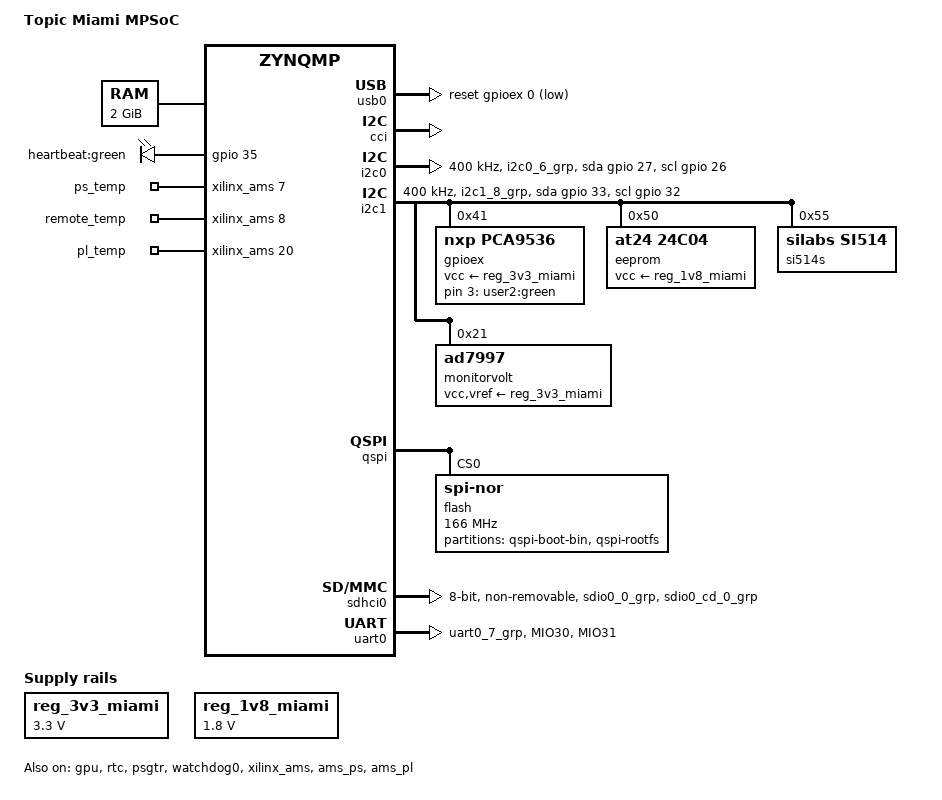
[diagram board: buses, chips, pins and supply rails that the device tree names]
/*
 * dts file for Topic Miami MPSoC
 *
 * (C) Copyright 2017, Topic Embedded Products BV
 * Mike Looijmans <mike.looijmans@topic.nl>
 *
 * This program is free software; you can redistribute it and/or
 * modify it under the terms of the GNU General Public License as
 * published by the Free Software Foundation; either version 2 of
 * the License, or (at your option) any later version.
 */

/dts-v1/;

#include "zynqmp.dtsi"
#include "zynqmp-clk-ccf.dtsi"
#include <dt-bindings/input/input.h>
#include <dt-bindings/gpio/gpio.h>
#include <dt-bindings/pinctrl/pinctrl-zynqmp.h>
#include <dt-bindings/phy/phy.h>

/ {
	model = "Topic Miami MPSoC";
	compatible = "topic,miamimp", "xlnx,zynqmp";

	aliases {
		ethernet0 = &gem3;
		gpio0 = &gpio;
		i2c0 = &i2c0;
		i2c1 = &i2c1;
		mmc0 = &sdhci0;
		mmc1 = &sdhci1;
		rtc0 = &rtc;
		serial0 = &uart0;
		serial1 = &uart1;
		spi0 = &qspi;
		usb0 = &usb0;
	};

	chosen {
		bootargs = "earlycon root=/dev/mmcblk1p2 rw rootfstype=ext4 rootwait";
		stdout-path = "serial0:115200n8";
	};

	memory {
		device_type = "memory";
		reg = <0x0 0x0 0x0 0x80000000>;
	};

	/* Represents the 3v3 supply on the Miami SOM. */
	reg_3v3_miami: regulator_3v3_miami {
		compatible = "regulator-fixed";
		regulator-name = "3v3-miami";
		regulator-min-microvolt = <3300000>;
		regulator-max-microvolt = <3300000>;
	};
	/* Represents the 1v8 supply on the SOM. */
	reg_1v8_miami: regulator_1v8_miami {
		compatible = "regulator-fixed";
		regulator-name = "1v8-miami";
		regulator-min-microvolt = <1800000>;
		regulator-max-microvolt = <1800000>;
	};

	leds: leds {
		compatible = "gpio-leds";
		heartbeat_led {
			label = "heartbeat:green";
			gpios = <&gpio 35 0>;
			linux,default-trigger = "heartbeat";
		};
		user_led_2 {
			label = "user2:green";
			gpios = <&gpioex 3 0>;
		};
	};

	/* Make temperature readouts show up in hwmon applications */
	iio-hwmon-ams-temp {
		compatible = "iio-hwmon";
		io-channels = <&xilinx_ams 7>, <&xilinx_ams 8>, <&xilinx_ams 20>;
		io-channel-names = "ps_temp", "remote_temp", "pl_temp";
	};
};

/* USB PHY reset (Xilinx specific) */
&usb0 {
	/* Xilinx defines "reset-gpio" but this should be reset-gpios */
	/delete-property/ reset-gpio;
	reset-gpios = <&gpioex 0 GPIO_ACTIVE_LOW>;
};

&cci {
	status = "okay";
};

&gpio {
	status = "okay";
	pinctrl-names = "default";
	pinctrl-0 = <&pinctrl_gpio_default>;
};

&gpu {
	status = "okay";
};

&i2c0 {
	status = "okay";
	clock-frequency = <400000>;
	pinctrl-names = "default", "gpio";
	pinctrl-0 = <&pinctrl_i2c0_default>;
	pinctrl-1 = <&pinctrl_i2c0_gpio>;
	scl-gpios = <&gpio 26 GPIO_ACTIVE_HIGH>;
	sda-gpios = <&gpio 27 GPIO_ACTIVE_HIGH>;
};

&i2c1 {
	status = "okay";
	clock-frequency = <400000>;
	pinctrl-names = "default", "gpio";
	pinctrl-0 = <&pinctrl_i2c1_default>;
	pinctrl-1 = <&pinctrl_i2c1_gpio>;
	scl-gpios = <&gpio 32 GPIO_ACTIVE_HIGH>;
	sda-gpios = <&gpio 33 GPIO_ACTIVE_HIGH>;

	/* GPIO expander */
	gpioex: pca953x@41 {
		compatible = "nxp,pca9536";
		reg = <0x41>;
		vcc-supply = <&reg_3v3_miami>;
		gpio-line-names = "USB_RESET", "VTT_SHDWN_N", "V_PRESENT", "LED2";
		gpio-controller;
		#gpio-cells = <2>;
	};
	/* EEPROM */
	eeprom: eeprom@50 {
		compatible = "at24,24c04";
		reg = <0x50>;
		vcc-supply = <&reg_1v8_miami>;
		pagesize = <16>;
		#address-cells = <1>;
		#size-cells = <1>;
		gem0_mac: mac@1e8 {
			reg = <0x1e8 6>;
		};
		gem1_mac: mac@1ee {
			reg = <0x1ee 6>;
		};
		miamiserial: serial@1f4 {
			reg = <0x1f4 4>;
		};
		dyplolicense: dyplolicense@1f8 {
			reg = <0x1f8 8>;
		};
	};
	/* Programmable clock (for logic) */
	si514s: si514@55 {
		reg = <0x55>;
		#clock-cells = <0>;
		compatible = "silabs,si514";
		clock-output-names = "si514miami";
	};
	/* AD converter for voltage monitoring */
	monitorvolt: ad799x@21 {
		compatible = "ad7997";
		reg = <0x21>;
		vcc-supply = <&reg_3v3_miami>;
		vref-supply = <&reg_3v3_miami>;
	};
};

&qspi {
	status = "okay";
	is-dual = <1>;
	multi-die = <1>;
	flash@0 {
		compatible = "jedec,spi-nor";
		#address-cells = <1>;
		#size-cells = <1>;
		reg = <0x0>;
		spi-tx-bus-width = <1>;
		spi-rx-bus-width = <4>;
		spi-max-frequency = <166000000>;
		is-dual = <1>;
		multi-die = <1>;
		partition@qspi-boot-bin {
			label = "qspi-boot-bin";
			reg = <0x00000 0x180000>;
		};
		partition@qspi-rootfs {
			label = "qspi-rootfs";
			reg = <0x180000 0>;
		};
	};
};

&rtc {
	status = "okay"; 
};

/* eMMC device */
&sdhci0 {
	status = "okay";
	non-removable;
	disable-wp; /* We don't have a write-protect detection */
	bus-width = <8>;
	xlnx,mio_bank = <0>;
	pinctrl-names = "default";
	pinctrl-0 = <&pinctrl_sdhci0_default>;
};

&psgtr {
	status = "okay";
	clock-names = "ref0", "ref1", "ref2", "ref3";
	/* TODO: clocks = ... */
};

&uart0 {
	status = "okay";
	pinctrl-names = "default";
	pinctrl-0 = <&pinctrl_uart0_default>;
};

&watchdog0 {
	status = "okay";
	timeout-sec = <5>;
	reset-on-timeout;
};

&xilinx_ams {
	status = "okay";
};

&ams_ps {
	status = "okay";
};

&ams_pl {
	status = "okay";
};

&pinctrl0 {
	status = "okay";

	pinctrl_i2c0_default: i2c0-default {
		mux {
			groups = "i2c0_6_grp";
			function = "i2c0";
		};

		conf {
			groups = "i2c0_6_grp";
			bias-pull-up;
			slew-rate = <SLEW_RATE_SLOW>;
			power-source = <IO_STANDARD_LVCMOS18>;
		};
	};

	pinctrl_i2c0_gpio: i2c0-gpio {
		mux {
			groups = "gpio0_26_grp", "gpio0_27_grp";
			function = "gpio0";
		};

		conf {
			groups = "gpio0_26_grp", "gpio0_27_grp";
			slew-rate = <SLEW_RATE_SLOW>;
			power-source = <IO_STANDARD_LVCMOS18>;
		};
	};

	pinctrl_i2c1_default: i2c1-default {
		mux {
			groups = "i2c1_8_grp";
			function = "i2c1";
		};

		conf {
			groups = "i2c1_8_grp";
			bias-pull-up;
			slew-rate = <SLEW_RATE_SLOW>;
			power-source = <IO_STANDARD_LVCMOS18>;
		};
	};

	pinctrl_i2c1_gpio: i2c1-gpio {
		mux {
			groups = "gpio0_32_grp", "gpio0_33_grp";
			function = "gpio0";
		};

		conf {
			groups = "gpio0_32_grp", "gpio0_33_grp";
			slew-rate = <SLEW_RATE_SLOW>;
			power-source = <IO_STANDARD_LVCMOS18>;
		};
	};

	pinctrl_uart0_default: uart0-default {
		mux {
			groups = "uart0_7_grp";
			function = "uart0";
		};

		conf {
			groups = "uart0_7_grp";
			slew-rate = <SLEW_RATE_SLOW>;
			power-source = <IO_STANDARD_LVCMOS18>;
		};

		conf-rx {
			pins = "MIO30";
			bias-high-impedance;
			input-schmitt-enable;
		};

		conf-tx {
			pins = "MIO31";
			bias-disable;
		};
	};

	pinctrl_sdhci0_default: sdhci0-default {
		mux {
			groups = "sdio0_0_grp";
			function = "sdio0";
		};

		conf {
			groups = "sdio0_0_grp";
			slew-rate = <SLEW_RATE_SLOW>;
			power-source = <IO_STANDARD_LVCMOS18>;
			bias-disable;
		};

		mux-cd {
			groups = "sdio0_cd_0_grp";
			function = "sdio0_cd";
		};

		conf-cd {
			groups = "sdio0_cd_0_grp";
			bias-high-impedance;
			bias-pull-up;
			slew-rate = <SLEW_RATE_SLOW>;
			power-source = <IO_STANDARD_LVCMOS18>;
		};
	};

	pinctrl_gpio_default: gpio-default {
		mux-sw {
			function = "gpio0";
			groups = "gpio0_35_grp";
		};

		conf-sw {
			groups = "gpio0_35_grp";
			slew-rate = <SLEW_RATE_SLOW>;
			power-source = <IO_STANDARD_LVCMOS18>;
		};

		mux-msp {
			function = "gpio0";
			groups = "gpio0_35_grp";
		};

		conf-msp {
			groups = "gpio0_35_grp";
			slew-rate = <SLEW_RATE_SLOW>;
			power-source = <IO_STANDARD_LVCMOS18>;
		};

		conf-pull-none {
			pins = "MIO35";
			bias-disable;
		};
	};
};
